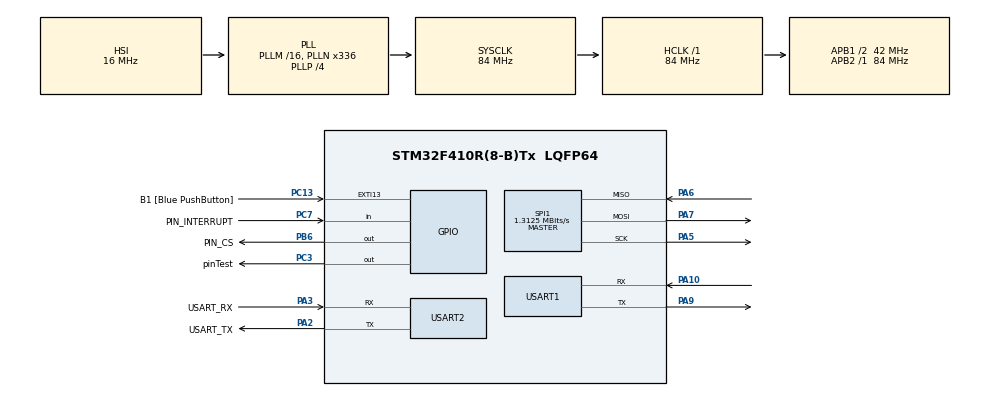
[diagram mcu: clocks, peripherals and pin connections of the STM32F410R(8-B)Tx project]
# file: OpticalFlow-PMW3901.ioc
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Mcu.Family=STM32F4
Mcu.Name=STM32F410R(8-B)Tx
Mcu.Package=LQFP64
NVIC.PriorityGroup=NVIC_PRIORITYGROUP_0
NVIC.USART1_IRQn=true\:0\:0\:false\:false\:true\:true\:true\:true
NVIC.USART2_IRQn=true\:0\:0\:false\:false\:true\:true\:true\:true
PA10.Mode=Asynchronous
PA10.Signal=USART1_RX
PA13.GPIO_Label=TMS
PA13.Mode=Serial_Wire
PA13.Signal=SYS_JTMS-SWDIO
PA14.GPIO_Label=TCK
PA14.Mode=Serial_Wire
PA14.Signal=SYS_JTCK-SWCLK
PA2.GPIO_Label=USART_TX
PA2.Mode=Asynchronous
PA2.Signal=USART2_TX
PA3.GPIO_Label=USART_RX
PA3.Mode=Asynchronous
PA3.Signal=USART2_RX
PA5.Mode=Full_Duplex_Master
PA5.Signal=SPI1_SCK
PA6.Mode=Full_Duplex_Master
PA6.Signal=SPI1_MISO
PA7.Mode=Full_Duplex_Master
PA7.Signal=SPI1_MOSI
PA9.Mode=Asynchronous
PA9.Signal=USART1_TX
PB3.GPIO_Label=SWO
PB3.Signal=SYS_JTDO-SWO
PB6.GPIO_Label=PIN_CS
PB6.Signal=GPIO_Output
PC13-ANTI_TAMP.GPIO_Label=B1 [Blue PushButton]
PC13-ANTI_TAMP.GPIO_ModeDefaultEXTI=GPIO_MODE_IT_FALLING
PC13-ANTI_TAMP.Signal=GPXTI13
PC14-OSC32_IN.Mode=LSE-External-Oscillator
PC14-OSC32_IN.Signal=RCC_OSC32_IN
PC15-OSC32_OUT.Mode=LSE-External-Oscillator
PC15-OSC32_OUT.Signal=RCC_OSC32_OUT
PC3.GPIO_Label=pinTest
PC3.Signal=GPIO_Output
PC7.GPIO_Label=PIN_INTERRUPT
PC7.Signal=GPIO_Input
PH0\ -\ OSC_IN.Mode=HSE-External-Clock-Source
PH0\ -\ OSC_IN.Signal=RCC_OSC_IN
PH1\ -\ OSC_OUT.Mode=HSE-External-Clock-Source
PH1\ -\ OSC_OUT.Signal=RCC_OSC_OUT
ProjectManager.HeapSize=0x200
ProjectManager.StackSize=0x400
ProjectManager.TargetToolchain=STM32CubeIDE
RCC.48MHZClocksFreq_Value=84000000
RCC.AHBFreq_Value=84000000
RCC.APB1CLKDivider=RCC_HCLK_DIV2
RCC.APB1Freq_Value=42000000
RCC.APB1TimFreq_Value=84000000
RCC.APB2Freq_Value=84000000
RCC.APB2TimFreq_Value=84000000
RCC.CortexFreq_Value=84000000
RCC.FLatency-AdvancedSettings=FLASH_LATENCY_2
RCC.HCLKFreq_Value=84000000
RCC.HSE_VALUE=8000000
RCC.HSI_VALUE=16000000
RCC.PLLN=336
RCC.PLLP=RCC_PLLP_DIV4
RCC.SYSCLKFreq_VALUE=84000000
RCC.SYSCLKSource=RCC_SYSCLKSOURCE_PLLCLK
RCC.VCOOutputFreq_Value=336000000
SPI1.BaudRatePrescaler=SPI_BAUDRATEPRESCALER_64
SPI1.CalculateBaudRate=1.3125 MBits/s
SPI1.Direction=SPI_DIRECTION_2LINES
SPI1.Mode=SPI_MODE_MASTER
SPI1.VirtualType=VM_MASTER
TIM5.Prescaler=83
USART1.VirtualMode=VM_ASYNC
USART2.VirtualMode=VM_ASYNC
VP_TIM5_VS_ClockSourceINT.Mode=Internal
board=NUCLEO-F410RB

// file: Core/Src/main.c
/* USER CODE BEGIN Header */
/**
  ******************************************************************************
  * @file           : main.c
  * @brief          : Main program body
  ******************************************************************************
  * @attention
  *
  * Copyright (c) 2024 STMicroelectronics.
  * All rights reserved.
  *
  * This software is licensed under terms that can be found in the LICENSE file
  * in the root directory of this software component.
  * If no LICENSE file comes with this software, it is provided AS-IS.
  *
  ******************************************************************************
  */
/* USER CODE END Header */
#include "main.h"

/* USER CODE BEGIN Includes */
#include "micros.h"
#include "pmw3901.h"

/* USER CODE END Includes */

/* USER CODE BEGIN PD */

#define BYTE_TO_BINARY_PATTERN "%c%c%c%c%c%c%c%c"
#define BYTE_TO_BINARY(byte)  \
  ((byte) & 0x80 ? '1' : '0'), \
  ((byte) & 0x40 ? '1' : '0'), \
  ((byte) & 0x20 ? '1' : '0'), \
  ((byte) & 0x10 ? '1' : '0'), \
  ((byte) & 0x08 ? '1' : '0'), \
  ((byte) & 0x04 ? '1' : '0'), \
  ((byte) & 0x02 ? '1' : '0'), \
  ((byte) & 0x01 ? '1' : '0')

/* USER CODE END PD */

SPI_HandleTypeDef hspi1;

TIM_HandleTypeDef htim5;

UART_HandleTypeDef huart1;
UART_HandleTypeDef huart2;

/* USER CODE BEGIN PV */

uint8_t sprintfBuffer[512] = {'\0'};
uint8_t runPMW = 0;
uint8_t streamPMW = 0;
static uint32_t lastMicros = 0;

/* USER CODE END PV */

void SystemClock_Config(void);
static void MX_GPIO_Init(void);
static void MX_USART2_UART_Init(void);
static void MX_SPI1_Init(void);
static void MX_TIM5_Init(void);
static void MX_USART1_UART_Init(void);
/* USER CODE BEGIN PFP */
void printCLI(void);
void streamData();

/* USER CODE END PFP */

int main(void)
{

  /* MCU Configuration--------------------------------------------------------*/

  /* Reset of all peripherals, Initializes the Flash interface and the Systick. */
  HAL_Init();

  /* Configure the system clock */
  SystemClock_Config();

  /* Initialize all configured peripherals */
  MX_GPIO_Init();
  MX_USART2_UART_Init();
  MX_SPI1_Init();
  MX_TIM5_Init();
  MX_USART1_UART_Init();
  /* USER CODE BEGIN 2 */
  microsInit(&htim5);

  UART_Receive_IT_Enable(&huart2);

  uint8_t error = 0;
  error = PMW3901_init(&hspi1, PIN_CS_GPIO_Port, PIN_CS_Pin, PIN_INTERRUPT_GPIO_Port, PIN_INTERRUPT_Pin);
if(error)
{
	while(1);
}
  /* USER CODE END 2 */

  /* Infinite loop */
  /* USER CODE BEGIN WHILE */
  while (1)
  {

	if(runPMW)
	{
//		PMW3901_ReadMotion();
//		PMW3901_ReadMotionBulk();
		if(PMW3901_Process() == 0)
		{
			streamData();
		}
	}

	if(lastMicros - getMicros() >= 100)
	{
		lastMicros = getMicros();
		HAL_GPIO_TogglePin(pinTest_GPIO_Port, pinTest_Pin);
	}

	if(getRxCount(&huart2)) printCLI();
//	streamData();

    /* USER CODE END WHILE */

  }
}

void SystemClock_Config(void)
{
  RCC_OscInitTypeDef RCC_OscInitStruct = {0};
  RCC_ClkInitTypeDef RCC_ClkInitStruct = {0};

  /** Configure the main internal regulator output voltage
  */
  __HAL_RCC_PWR_CLK_ENABLE();
  __HAL_PWR_VOLTAGESCALING_CONFIG(PWR_REGULATOR_VOLTAGE_SCALE1);

  /** Initializes the RCC Oscillators according to the specified parameters
  * in the RCC_OscInitTypeDef structure.
  */
  RCC_OscInitStruct.OscillatorType = RCC_OSCILLATORTYPE_HSI;
  RCC_OscInitStruct.HSIState = RCC_HSI_ON;
  RCC_OscInitStruct.HSICalibrationValue = RCC_HSICALIBRATION_DEFAULT;
  RCC_OscInitStruct.PLL.PLLState = RCC_PLL_ON;
  RCC_OscInitStruct.PLL.PLLSource = RCC_PLLSOURCE_HSI;
  RCC_OscInitStruct.PLL.PLLM = 16;
  RCC_OscInitStruct.PLL.PLLN = 336;
  RCC_OscInitStruct.PLL.PLLP = RCC_PLLP_DIV4;
  RCC_OscInitStruct.PLL.PLLQ = 4;
  RCC_OscInitStruct.PLL.PLLR = 2;
  if (HAL_RCC_OscConfig(&RCC_OscInitStruct) != HAL_OK)
  {
    Error_Handler();
  }

  /** Initializes the CPU, AHB and APB buses clocks
  */
  RCC_ClkInitStruct.ClockType = RCC_CLOCKTYPE_HCLK|RCC_CLOCKTYPE_SYSCLK
                              |RCC_CLOCKTYPE_PCLK1|RCC_CLOCKTYPE_PCLK2;
  RCC_ClkInitStruct.SYSCLKSource = RCC_SYSCLKSOURCE_PLLCLK;
  RCC_ClkInitStruct.AHBCLKDivider = RCC_SYSCLK_DIV1;
  RCC_ClkInitStruct.APB1CLKDivider = RCC_HCLK_DIV2;
  RCC_ClkInitStruct.APB2CLKDivider = RCC_HCLK_DIV1;

  if (HAL_RCC_ClockConfig(&RCC_ClkInitStruct, FLASH_LATENCY_2) != HAL_OK)
  {
    Error_Handler();
  }
}

static void MX_SPI1_Init(void)
{

  /* SPI1 parameter configuration*/
  hspi1.Instance = SPI1;
  hspi1.Init.Mode = SPI_MODE_MASTER;
  hspi1.Init.Direction = SPI_DIRECTION_2LINES;
  hspi1.Init.DataSize = SPI_DATASIZE_8BIT;
  hspi1.Init.CLKPolarity = SPI_POLARITY_LOW;
  hspi1.Init.CLKPhase = SPI_PHASE_1EDGE;
  hspi1.Init.NSS = SPI_NSS_SOFT;
  hspi1.Init.BaudRatePrescaler = SPI_BAUDRATEPRESCALER_64;
  hspi1.Init.FirstBit = SPI_FIRSTBIT_MSB;
  hspi1.Init.TIMode = SPI_TIMODE_DISABLE;
  hspi1.Init.CRCCalculation = SPI_CRCCALCULATION_DISABLE;
  hspi1.Init.CRCPolynomial = 15;
  if (HAL_SPI_Init(&hspi1) != HAL_OK)
  {
    Error_Handler();
  }

}

static void MX_TIM5_Init(void)
{

  TIM_ClockConfigTypeDef sClockSourceConfig = {0};
  TIM_MasterConfigTypeDef sMasterConfig = {0};

  htim5.Instance = TIM5;
  htim5.Init.Prescaler = 83;
  htim5.Init.CounterMode = TIM_COUNTERMODE_UP;
  htim5.Init.Period = 4294967295;
  htim5.Init.ClockDivision = TIM_CLOCKDIVISION_DIV1;
  htim5.Init.AutoReloadPreload = TIM_AUTORELOAD_PRELOAD_DISABLE;
  if (HAL_TIM_Base_Init(&htim5) != HAL_OK)
  {
    Error_Handler();
  }
  sClockSourceConfig.ClockSource = TIM_CLOCKSOURCE_INTERNAL;
  if (HAL_TIM_ConfigClockSource(&htim5, &sClockSourceConfig) != HAL_OK)
  {
    Error_Handler();
  }
  sMasterConfig.MasterOutputTrigger = TIM_TRGO_RESET;
  sMasterConfig.MasterSlaveMode = TIM_MASTERSLAVEMODE_DISABLE;
  if (HAL_TIMEx_MasterConfigSynchronization(&htim5, &sMasterConfig) != HAL_OK)
  {
    Error_Handler();
  }

}

static void MX_USART1_UART_Init(void)
{

  huart1.Instance = USART1;
  huart1.Init.BaudRate = 115200;
  huart1.Init.WordLength = UART_WORDLENGTH_8B;
  huart1.Init.StopBits = UART_STOPBITS_1;
  huart1.Init.Parity = UART_PARITY_NONE;
  huart1.Init.Mode = UART_MODE_TX_RX;
  huart1.Init.HwFlowCtl = UART_HWCONTROL_NONE;
  huart1.Init.OverSampling = UART_OVERSAMPLING_16;
  if (HAL_UART_Init(&huart1) != HAL_OK)
  {
    Error_Handler();
  }

}

static void MX_USART2_UART_Init(void)
{

  huart2.Instance = USART2;
  huart2.Init.BaudRate = 115200;
  huart2.Init.WordLength = UART_WORDLENGTH_8B;
  huart2.Init.StopBits = UART_STOPBITS_1;
  huart2.Init.Parity = UART_PARITY_NONE;
  huart2.Init.Mode = UART_MODE_TX_RX;
  huart2.Init.HwFlowCtl = UART_HWCONTROL_NONE;
  huart2.Init.OverSampling = UART_OVERSAMPLING_16;
  if (HAL_UART_Init(&huart2) != HAL_OK)
  {
    Error_Handler();
  }

}

static void MX_GPIO_Init(void)
{
  GPIO_InitTypeDef GPIO_InitStruct = {0};

  /* GPIO Ports Clock Enable */
  __HAL_RCC_GPIOC_CLK_ENABLE();
  __HAL_RCC_GPIOH_CLK_ENABLE();
  __HAL_RCC_GPIOA_CLK_ENABLE();
  __HAL_RCC_GPIOB_CLK_ENABLE();

  /*Configure GPIO pin Output Level */
  HAL_GPIO_WritePin(pinTest_GPIO_Port, pinTest_Pin, GPIO_PIN_RESET);

  /*Configure GPIO pin Output Level */
  HAL_GPIO_WritePin(PIN_CS_GPIO_Port, PIN_CS_Pin, GPIO_PIN_RESET);

  /*Configure GPIO pin : B1_Pin */
  GPIO_InitStruct.Pin = B1_Pin;
  GPIO_InitStruct.Mode = GPIO_MODE_IT_FALLING;
  GPIO_InitStruct.Pull = GPIO_NOPULL;
  HAL_GPIO_Init(B1_GPIO_Port, &GPIO_InitStruct);

  /*Configure GPIO pin : pinTest_Pin */
  GPIO_InitStruct.Pin = pinTest_Pin;
  GPIO_InitStruct.Mode = GPIO_MODE_OUTPUT_PP;
  GPIO_InitStruct.Pull = GPIO_NOPULL;
  GPIO_InitStruct.Speed = GPIO_SPEED_FREQ_LOW;
  HAL_GPIO_Init(pinTest_GPIO_Port, &GPIO_InitStruct);

  /*Configure GPIO pin : PIN_INTERRUPT_Pin */
  GPIO_InitStruct.Pin = PIN_INTERRUPT_Pin;
  GPIO_InitStruct.Mode = GPIO_MODE_INPUT;
  GPIO_InitStruct.Pull = GPIO_NOPULL;
  HAL_GPIO_Init(PIN_INTERRUPT_GPIO_Port, &GPIO_InitStruct);

  /*Configure GPIO pin : PIN_CS_Pin */
  GPIO_InitStruct.Pin = PIN_CS_Pin;
  GPIO_InitStruct.Mode = GPIO_MODE_OUTPUT_PP;
  GPIO_InitStruct.Pull = GPIO_NOPULL;
  GPIO_InitStruct.Speed = GPIO_SPEED_FREQ_LOW;
  HAL_GPIO_Init(PIN_CS_GPIO_Port, &GPIO_InitStruct);

}

/* USER CODE BEGIN 4 */

void printCLI(void)
{
	char read_Value = usart_Read(&huart2);
	printf("%c\n\r", read_Value);

	if(read_Value == 'h')
	{
		sprintf(sprintfBuffer,"\n\r"
				"1 - Init\n\r"
				"2 - Set motion\n\r"
				"3 - Slow Read\n\r"
				"4 - Bulk Read\n\r"
				"5 - Stream\n\r"
				"7 - Read Rev\n\r"
				"8 - Read Motion\n\r"
				"9 - Power On Reset\n\r"
				"x - Read Xl\n\r"
				"b - Read motion_bulk\n\r"
				"r - Reset sum\n\r"
				);
		HAL_UART_Transmit(&huart2, sprintfBuffer, strlen(sprintfBuffer), 1000);
	}
	else if(read_Value == '1')
	{
		uint8_t rslt = PMW3901_init(&hspi1, PIN_CS_GPIO_Port, PIN_CS_Pin, PIN_INTERRUPT_GPIO_Port, PIN_INTERRUPT_Pin);
		if(rslt)
		{
			sprintf(sprintfBuffer,"Init FAILED\n\r");
		}
		else
		{
			sprintf(sprintfBuffer,"Init SUCCESS\n\r");
		}
		HAL_UART_Transmit(&huart2, sprintfBuffer, strlen(sprintfBuffer), 1000);
	}
	else if(read_Value == '2')
	{
		uint8_t rslt = PMW3901_writeReg(PWM_REG_MOTION, 0x01);
		if(rslt)
		{
			sprintf(sprintfBuffer,"Write FAILED\n\r");
		}
		else
		{
			sprintf(sprintfBuffer,"Write SUCCESS\n\r");
		}
		HAL_UART_Transmit(&huart2, sprintfBuffer, strlen(sprintfBuffer), 1000);
	}
	else if(read_Value == '3')
	{
		uint8_t error = 0;
		error = PMW3901_ReadMotion();
		if(error)
		{
			sprintf(sprintfBuffer,"Slow read failed");
		}
		else
		{
			sprintf(sprintfBuffer,
					"\n\r"
					"Motion: "BYTE_TO_BINARY_PATTERN "\n\r"
					"deltax: %i\n\r"
					"deltay: %i\n\r"
					"Squal: %i\n\r"
					,BYTE_TO_BINARY(pmw3901.motion)
					, pmw3901.deltaX
					, pmw3901.deltaY
					, pmw3901.squal
			);
		}
		HAL_UART_Transmit(&huart2, sprintfBuffer, strlen(sprintfBuffer), 1000);
	}
	else if(read_Value == '4')
	{
		uint8_t error = 0;
		error = PMW3901_ReadMotionBulk();
		if(error)
		{
			sprintf(sprintfBuffer,"Bulk read fail");
		}
		else
		{
			sprintf(sprintfBuffer,
					"\n\r"
					"Valid: %i\n\r"
					"deltax: %i\n\r"
					"deltay: %i\n\r"
					"Squal: %i\n\r"
					"Observ: %i\n\r"
					"Rawavg: %i\n\r"
					"RawMx: %i\n\r"
					"RawMn: %i\n\r"
					"Shutter: %i\n\r"
					,pmw3901.isValid
					, pmw3901.deltaX
					, pmw3901.deltaY
					, pmw3901.squal
					,pmw3901.observation
					,pmw3901.rawAverage
					,pmw3901.rawMax
					,pmw3901.rawMin
					,pmw3901.shutter
					,pmw3901.squal
					);
		}
		HAL_UART_Transmit(&huart2, sprintfBuffer, strlen(sprintfBuffer), 1000);
	}
	else if (read_Value == '5')
	{
		if(streamPMW)
		{
			runPMW = 0;
			streamPMW = 0;
		}
		else
		{
			runPMW = 1;
			streamPMW = 1;
		}
		sprintf(sprintfBuffer,"Stream %i\n\r", runPMW);
		HAL_UART_Transmit(&huart2, sprintfBuffer, strlen(sprintfBuffer), 1000);

	}
	else if(read_Value == '7')
	{
		uint8_t error = 0;
		uint8_t rev = 0;
		error = PMW3901_readRegs(0x01, &rev, 1);
		if(error)
		{
			sprintf(sprintfBuffer,"Read rev failed");
		}
		else
		{
			sprintf(sprintfBuffer,"Rev %i\n\r", rev);
		}
		HAL_UART_Transmit(&huart2, sprintfBuffer, strlen(sprintfBuffer), 1000);
	}
	else if(read_Value == '8')
	{
		uint8_t error = 0;
		uint8_t motionVal = 0;
		error = PMW3901_readRegs(0x02, &motionVal, 1);
		if(error)
		{
			sprintf(sprintfBuffer,"Read motion failed");
		}
		else
		{
			sprintf(sprintfBuffer,"Motion %i\n\r", motionVal);
		}
		HAL_UART_Transmit(&huart2, sprintfBuffer, strlen(sprintfBuffer), 1000);
	}
	else if(read_Value == 'x')
	{
		uint8_t error = 0;
		uint8_t motionXl = 0;
		error = PMW3901_readRegs(PMW_REG_DELTA_X_L, &motionXl, 1);
		if(error)
		{
			sprintf(sprintfBuffer,"Read XL failed");
		}
		else
		{
			sprintf(sprintfBuffer,"Xl %i\n\r", motionXl);
		}
		HAL_UART_Transmit(&huart2, sprintfBuffer, strlen(sprintfBuffer), 1000);
	}
	else if(read_Value == 'b')
	{
		uint8_t error = 0;
		uint8_t motionBulkVal = 0;
		error = PMW3901_readRegs(PMW_REG_MOTION_BURST, &motionBulkVal, 1);
		if(error)
		{
			sprintf(sprintfBuffer,"Read motion_bulk failed");
		}
		else
		{
			sprintf(sprintfBuffer,"Motion_Bulk %i\n\r", motionBulkVal);
		}
		HAL_UART_Transmit(&huart2, sprintfBuffer, strlen(sprintfBuffer), 1000);
	}
	else if(read_Value == 'n')
	{
		uint8_t error = 0;
		uint8_t motionBulkXl = 0;
		error = PMW3901_readRegs(PMW_REG_MOTION_BURST + 0x01, &motionBulkXl, 1);
		if(error)
		{
			sprintf(sprintfBuffer,"Read bulk Xl failed");
		}
		else
		{
			sprintf(sprintfBuffer,"Bulk Xl %i\n\r", motionBulkXl);
		}
		HAL_UART_Transmit(&huart2, sprintfBuffer, strlen(sprintfBuffer), 1000);
	}
	else if(read_Value == 'q')
	{
		uint8_t error = 0;
		uint8_t data[2] = {0};
		error = PMW3901_readRegs(0x00, &data[0], 2);
		if(error)
		{
			sprintf(sprintfBuffer,"Read bulk Xl failed\n\r%i\n\rXl %i\n\r", data[0], data[1]);
		}
		else
		{
			sprintf(sprintfBuffer,"Bulk %i\n\rXl %i\n\r", data[0], data[1]);
		}
		HAL_UART_Transmit(&huart2, sprintfBuffer, strlen(sprintfBuffer), 1000);
	}
	else if(read_Value == 'r')
	{
		pmw3901.xDisplacementSum = 0;
		pmw3901.yDisplacementSum = 0;
	}
	else if(read_Value == '9')
	{
		PMW3901_PowerOnReset();
	}
	else
	{
		sprintf(sprintfBuffer, "Invalid Command\n\r");
		HAL_UART_Transmit(&huart2, sprintfBuffer, strlen(sprintfBuffer), 1000);
	}
}

void streamData()
{
	if(streamPMW)
	{
		static uint32_t lastMillis = 0;
		if(HAL_GetTick() - lastMillis >= 5)
		{
			lastMillis = HAL_GetTick();
//			sprintf(sprintfBuffer, "%i %i %i %i\n", pmw3901.deltaX, pmw3901.deltaY, pmw3901.squal, pmw3901.deltaMicros);
//			sprintf(sprintfBuffer, "%f %f\n", pmw3901.xDisplacementSum, pmw3901.yDisplacementSum);
			sprintf(sprintfBuffer, "%f %f\n", pmw3901.xVelocity, pmw3901.yVelocity);
			HAL_UART_Transmit(&huart2, sprintfBuffer, strlen(sprintfBuffer), 1000);
		}
	}
}

void HAL_UART_TxCpltCallback(UART_HandleTypeDef *huart)
{
//	if(huart = &huart2)
//	{
//		for(int i = 0; i<512; i++)
//		{
//			sprintfBuffer[i] = '\0';
//		}
//	}
	for(int i = 0; i<512; i++)
	{
		sprintfBuffer[i] = '\0';
	}
}

/* USER CODE END 4 */

void Error_Handler(void)
{
  __disable_irq();
  while (1)
  {
  }
}
